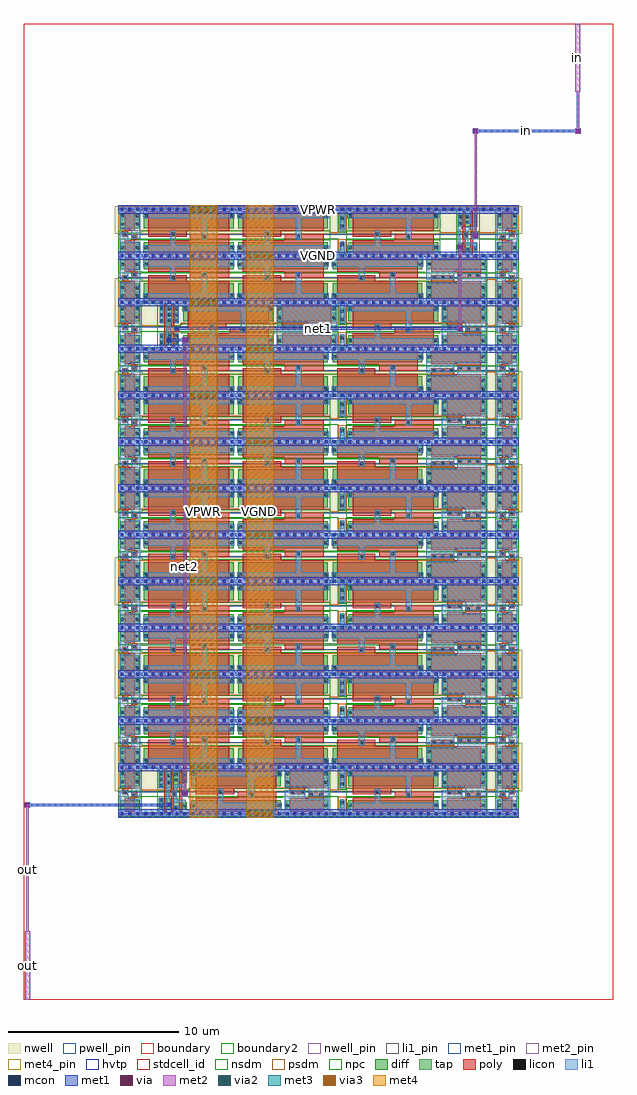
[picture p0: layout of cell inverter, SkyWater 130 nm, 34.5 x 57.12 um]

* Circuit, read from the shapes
.subckt inverter VGND VPWR in net1 net2 out
XM1 VGND VPWR VGND VGND sky130_fd_pr__nfet_01v8 w=0.55 l=0.59 m=26
XM2 VGND VPWR VGND VGND sky130_fd_pr__nfet_01v8 w=0.55 l=4.73 m=37
XM3 out n1 VGND VGND sky130_fd_pr__nfet_01v8 w=0.65 l=0.15 m=2
XM4 net2 net1 VGND VGND sky130_fd_pr__nfet_01v8 w=0.65 l=0.15 m=2
XM5 n1 net2 VGND VGND sky130_fd_pr__nfet_01v8 w=0.42 l=0.15
XM6 VGND VPWR VGND VGND sky130_fd_pr__nfet_01v8 w=0.55 l=2.89 m=7
XM7 VGND VPWR VGND VGND sky130_fd_pr__nfet_01v8 w=0.55 l=1.97 m=7
XM8 VGND n2 net1 VGND sky130_fd_pr__nfet_01v8 w=0.52 l=0.15
XM9 n2 in VGND VGND sky130_fd_pr__nfet_01v8 w=0.52 l=0.15
XM10 VPWR VGND VPWR VPWR sky130_fd_pr__pfet_01v8_hvt w=0.87 l=0.59 m=26
XM11 VPWR VGND VPWR VPWR sky130_fd_pr__pfet_01v8_hvt w=0.87 l=4.73 m=37
XM12 out n1 VPWR VPWR sky130_fd_pr__pfet_01v8_hvt w=1 l=0.15 m=2
XM13 net2 net1 VPWR VPWR sky130_fd_pr__pfet_01v8_hvt w=1 l=0.15 m=2
XM14 n1 net2 VPWR VPWR sky130_fd_pr__pfet_01v8_hvt w=0.64 l=0.15
XM15 VPWR VGND VPWR VPWR sky130_fd_pr__pfet_01v8_hvt w=0.87 l=2.89 m=7
XM16 VPWR VGND VPWR VPWR sky130_fd_pr__pfet_01v8_hvt w=0.87 l=1.97 m=7
XM17 VPWR n2 net1 VPWR sky130_fd_pr__pfet_01v8_hvt w=0.79 l=0.15
XM18 n2 in VPWR VPWR sky130_fd_pr__pfet_01v8_hvt w=0.79 l=0.15
.ends

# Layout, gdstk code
from math import pi, radians
import gdstk
lib = gdstk.Library(unit=1e-6, precision=1e-09)
def R(c, l, rs):  # rectangles x0, y0, x1, y1
    for r in rs: c.add(gdstk.rectangle(r[:2], r[2:], *l))
def A(c, l, x, y, w, h, nx, ny, dx, dy):  # array of equal rectangles
    R(c, l, [(x+i*dx, y+j*dy, x+i*dx+w, y+j*dy+h) for i in range(nx) for j in range(ny)])
def P(c, l, *ps):  # polygons
    for p in ps: c.add(gdstk.Polygon(p, *l))
nwell_pin = (64, 16)
nwell = (64, 20)
diff = (65, 20)
tap = (65, 44)
poly = (66, 20)
licon = (66, 44)
li1_pin = (67, 16)
li1 = (67, 20)
mcon = (67, 44)
met1_pin = (68, 16)
met1 = (68, 20)
via = (68, 44)
met2_pin = (69, 16)
met2 = (69, 20)
via2 = (69, 44)
met3 = (70, 20)
via3 = (70, 44)
met4_pin = (71, 16)
met4 = (71, 20)
hvtp = (78, 44)
stdcell_id = (81, 4)
nsdm = (93, 44)
psdm = (94, 20)
npc = (95, 20)
pwell_pin = (122, 16)
boundary = (235, 4)
boundary2 = (236, 0)

sky130_fd_sc_hd__fill_2 = lib.new_cell('sky130_fd_sc_hd__fill_2')
R(sky130_fd_sc_hd__fill_2, nwell_pin, [(0.14,2.675,0.31,2.765)])
R(sky130_fd_sc_hd__fill_2, nwell, [(-0.19,1.305,1.11,2.91)])
R(sky130_fd_sc_hd__fill_2, mcon, [(0.145,-0.085,0.315,0.085), (0.605,-0.085,0.775,0.085), (0.145,2.635,0.315,2.805), (0.605,2.635,0.775,2.805)])
R(sky130_fd_sc_hd__fill_2, met1_pin, [(0.1,-0.07,0.365,0.09), (0.105,2.65,0.365,2.805)])
R(sky130_fd_sc_hd__fill_2, hvtp, [(0,1.25,0.92,2.72)])
R(sky130_fd_sc_hd__fill_2, stdcell_id, [(0,0,0.92,2.72)])
R(sky130_fd_sc_hd__fill_2, nsdm, [(0,-0.19,0.92,1.015)])
R(sky130_fd_sc_hd__fill_2, psdm, [(0,1.355,0.92,2.91)])
R(sky130_fd_sc_hd__fill_2, pwell_pin, [(0.155,-0.05,0.315,0.06)])
sky130_fd_sc_hd__fill_2.add(gdstk.FlexPath([(0,0),(0.92,0)], 0.17, ends="flush", simple_path=True, layer=67, datatype=20))  # li1
sky130_fd_sc_hd__fill_2.add(gdstk.FlexPath([(0,2.72),(0.92,2.72)], 0.17, ends="flush", simple_path=True, layer=67, datatype=20))  # li1
sky130_fd_sc_hd__fill_2.add(gdstk.FlexPath([(0,2.72),(0.92,2.72)], 0.48, ends="flush", simple_path=True, layer=68, datatype=20))  # met1
sky130_fd_sc_hd__fill_2.add(gdstk.FlexPath([(0,0),(0.92,0)], 0.48, ends="flush", simple_path=True, layer=68, datatype=20))  # met1
sky130_fd_sc_hd__fill_2.add(gdstk.Label('VGND', (0.23,0), layer=68, texttype=5))
sky130_fd_sc_hd__fill_2.add(gdstk.Label('VPWR', (0.23,2.72), layer=68, texttype=5))
sky130_fd_sc_hd__fill_2.add(gdstk.Label('VPB', (0.23,2.72), layer=64, texttype=5))
sky130_fd_sc_hd__fill_2.add(gdstk.Label('VNB', (0.23,0), layer=64, texttype=59))
sky130_fd_sc_hd__fill_2.add(gdstk.Label('fill_2', (0,0), layer=83, texttype=44))

sky130_ef_sc_hd__decap_1 = lib.new_cell('sky130_ef_sc_hd__decap_12')
R(sky130_ef_sc_hd__decap_1, nwell_pin, [(0.145,2.635,0.315,2.805)])
R(sky130_ef_sc_hd__decap_1, nwell, [(-0.19,1.305,5.71,2.91)])
R(sky130_ef_sc_hd__decap_1, diff, [(0.135,0.235,5.385,0.785), (0.135,1.615,5.385,2.485)])
P(sky130_ef_sc_hd__decap_1, poly, [(5.125,2.615),(0.395,2.615),(0.395,1.125),(2.645,1.125),(2.645,1.485),(5.125,1.485)],
  [(5.125,1.275),(2.855,1.275),(2.855,0.915),(0.395,0.915),(0.395,0.105),(5.125,0.105)])
R(sky130_ef_sc_hd__decap_1, licon, [(0.175,0.39,0.345,0.56), (5.175,0.39,5.345,0.56), (3.575,1.025,3.745,1.195), (1.755,1.205,1.925,1.375), (0.175,2.255,0.345,2.425), (5.175,2.255,5.345,2.425)])
R(sky130_ef_sc_hd__decap_1, li1, [(0,-0.085,5.52,0.085), (0.085,0.085,5.43,0.63), (1.67,0.63,2.01,1.46), (3.49,0.95,3.84,2.2), (0.085,2.2,5.43,2.635), (0,2.635,5.52,2.805)])
A(sky130_ef_sc_hd__decap_1, mcon, 0.145, -0.085, 0.17, 0.17, 12, 2, 0.46, 2.72)
R(sky130_ef_sc_hd__decap_1, met1_pin, [(0.145,-0.085,0.315,0.085), (0.145,2.635,0.315,2.805)])
R(sky130_ef_sc_hd__decap_1, hvtp, [(0,1.25,5.52,2.72)])
R(sky130_ef_sc_hd__decap_1, stdcell_id, [(0,0,5.52,2.72)])
R(sky130_ef_sc_hd__decap_1, nsdm, [(0,-0.19,5.52,1.015)])
R(sky130_ef_sc_hd__decap_1, psdm, [(0,1.485,5.52,2.91)])
R(sky130_ef_sc_hd__decap_1, npc, [(0,0.925,5.52,1.475)])
R(sky130_ef_sc_hd__decap_1, pwell_pin, [(0.145,-0.085,0.315,0.085)])
R(sky130_ef_sc_hd__decap_1, boundary2, [(0,0,5.52,2.72)])
sky130_ef_sc_hd__decap_1.add(gdstk.FlexPath([(0,2.72),(5.52,2.72)], 0.48, ends="flush", simple_path=True, layer=68, datatype=20))  # met1
sky130_ef_sc_hd__decap_1.add(gdstk.FlexPath([(0,0),(5.52,0)], 0.48, ends="flush", simple_path=True, layer=68, datatype=20))  # met1
sky130_ef_sc_hd__decap_1.add(gdstk.Label('VGND', (0.23,0), layer=68, texttype=5))
sky130_ef_sc_hd__decap_1.add(gdstk.Label('VPWR', (0.23,2.72), layer=68, texttype=5))
sky130_ef_sc_hd__decap_1.add(gdstk.Label('VPB', (0.23,2.72), layer=64, texttype=5))
sky130_ef_sc_hd__decap_1.add(gdstk.Label('VNB', (0.23,0), layer=64, texttype=59))
sky130_ef_sc_hd__decap_1.add(gdstk.Label('decap_12', (0,0), layer=83, texttype=44))

sky130_fd_sc_hd__decap_3 = lib.new_cell('sky130_fd_sc_hd__decap_3')
R(sky130_fd_sc_hd__decap_3, nwell_pin, [(0.145,2.635,0.315,2.805)])
R(sky130_fd_sc_hd__decap_3, nwell, [(-0.19,1.305,1.57,2.91)])
R(sky130_fd_sc_hd__decap_3, diff, [(0.135,0.235,1.245,0.785), (0.135,1.615,1.245,2.485)])
P(sky130_fd_sc_hd__decap_3, poly, [(1.125,1.255),(0.795,1.255),(0.795,0.915),(0.395,0.915),(0.395,0.105),(0.985,0.105),(0.985,0.925),(1.125,0.925)],
  [(0.985,2.615),(0.395,2.615),(0.395,1.455),(0.255,1.455),(0.255,1.125),(0.585,1.125),(0.585,1.465),(0.985,1.465)])
R(sky130_fd_sc_hd__decap_3, licon, [(0.175,0.4,0.345,0.57), (1.035,0.4,1.205,0.57), (0.875,1.005,1.045,1.175), (0.335,1.205,0.505,1.375), (0.175,1.78,0.345,1.95), (1.035,1.78,1.205,1.95), (0.175,2.255,0.345,2.425), (1.035,2.255,1.205,2.425)])
P(sky130_fd_sc_hd__decap_3, li1, [(1.38,2.805),(0,2.805),(0,2.635),(0.085,2.635),(0.085,1.545),(0.775,1.545),(0.775,1.005),(1.295,1.005),(1.295,2.635),(1.38,2.635)],
  [(1.38,0.085),(1.295,0.085),(1.295,0.835),(0.605,0.835),(0.605,1.375),(0.085,1.375),(0.085,0.085),(0,0.085),(0,-0.085),(1.38,-0.085)])
A(sky130_fd_sc_hd__decap_3, mcon, 0.145, -0.085, 0.17, 0.17, 3, 2, 0.46, 2.72)
R(sky130_fd_sc_hd__decap_3, met1_pin, [(0.145,-0.085,0.315,0.085), (0.145,2.635,0.315,2.805)])
R(sky130_fd_sc_hd__decap_3, hvtp, [(0,1.25,1.38,2.72)])
R(sky130_fd_sc_hd__decap_3, stdcell_id, [(0,0,1.38,2.72)])
R(sky130_fd_sc_hd__decap_3, nsdm, [(0,-0.19,1.38,1.015)])
R(sky130_fd_sc_hd__decap_3, psdm, [(0,1.485,1.38,2.91)])
P(sky130_fd_sc_hd__decap_3, npc, [(1.38,1.345),(0.605,1.345),(0.605,1.475),(0,1.475),(0,0.975),(0.775,0.975),(0.775,0.905),(1.38,0.905)])
R(sky130_fd_sc_hd__decap_3, pwell_pin, [(0.145,-0.085,0.315,0.085)])
R(sky130_fd_sc_hd__decap_3, boundary2, [(0,0,1.38,2.72)])
sky130_fd_sc_hd__decap_3.add(gdstk.FlexPath([(0,2.72),(1.38,2.72)], 0.48, ends="flush", simple_path=True, layer=68, datatype=20))  # met1
sky130_fd_sc_hd__decap_3.add(gdstk.FlexPath([(0,0),(1.38,0)], 0.48, ends="flush", simple_path=True, layer=68, datatype=20))  # met1
sky130_fd_sc_hd__decap_3.add(gdstk.Label('VPWR', (0.23,2.72), layer=68, texttype=5))
sky130_fd_sc_hd__decap_3.add(gdstk.Label('VGND', (0.23,0), layer=68, texttype=5))
sky130_fd_sc_hd__decap_3.add(gdstk.Label('VPB', (0.23,2.72), layer=64, texttype=5))
sky130_fd_sc_hd__decap_3.add(gdstk.Label('VNB', (0.23,0), layer=64, texttype=59))
sky130_fd_sc_hd__decap_3.add(gdstk.Label('decap_3', (0,0), layer=83, texttype=44))

sky130_fd_sc_hd__buf_2 = lib.new_cell('sky130_fd_sc_hd__buf_2')
R(sky130_fd_sc_hd__buf_2, nwell_pin, [(0.145,2.635,0.315,2.805)])
R(sky130_fd_sc_hd__buf_2, nwell, [(-0.19,1.305,2.03,2.91)])
P(sky130_fd_sc_hd__buf_2, diff, [(1.705,2.485),(0.62,2.485),(0.62,2.445),(0.135,2.445),(0.135,1.805),(0.62,1.805),(0.62,1.485),(1.705,1.485)],
  [(1.705,0.885),(0.62,0.885),(0.62,0.655),(0.135,0.655),(0.135,0.235),(1.705,0.235)])
P(sky130_fd_sc_hd__buf_2, poly, [(1.44,2.615),(1.29,2.615),(1.29,1.325),(1.02,1.325),(1.02,2.615),(0.87,2.615),(0.87,1.325),(0.755,1.325),(0.755,0.995),(0.87,0.995),(0.87,0.105),(1.02,0.105),(1.02,0.995),(1.29,0.995),(1.29,0.105),(1.44,0.105)],
  [(0.545,2.575),(0.395,2.575),(0.395,1.325),(0.135,1.325),(0.135,0.995),(0.395,0.995),(0.395,0.105),(0.545,0.105)])
A(sky130_fd_sc_hd__buf_2, licon, 1.49, 1.575, 0.17, 0.17, 1, 3, 0, 0.34)
R(sky130_fd_sc_hd__buf_2, licon, [(0.64,0.295,0.81,0.465), (1.49,0.315,1.66,0.485), (0.175,0.36,0.345,0.53), (1.07,0.445,1.24,0.615), (1.49,0.655,1.66,0.825), (0.185,1.075,0.355,1.245), (0.805,1.075,0.975,1.245), (1.07,1.73,1.24,1.9), (0.175,1.875,0.345,2.045), (0.64,1.875,0.81,2.045), (1.07,2.135,1.24,2.305), (0.175,2.215,0.345,2.385), (0.64,2.215,0.81,2.385)])
R(sky130_fd_sc_hd__buf_2, li1_pin, [(0.145,-0.085,0.315,0.085), (1.06,0.425,1.23,0.595), (0.145,1.105,0.315,1.275), (1.06,1.785,1.23,1.955), (1.06,2.125,1.23,2.295), (0.145,2.635,0.315,2.805)])
R(sky130_fd_sc_hd__buf_2, li1, [(0.085,0.985,0.44,1.355)])
P(sky130_fd_sc_hd__buf_2, li1, [(0.975,1.325),(0.89,1.325),(0.89,1.705),(0.345,1.705),(0.345,2.465),(0.175,2.465),(0.175,1.535),(0.72,1.535),(0.72,0.805),(0.175,0.805),(0.175,0.255),(0.345,0.255),(0.345,0.635),(0.89,0.635),(0.89,0.995),(0.975,0.995)],
  [(1.315,2.465),(1.06,2.465),(1.06,1.56),(1.145,1.56),(1.145,0.83),(1.06,0.83),(1.06,0.255),(1.315,0.255)],
  [(1.84,2.805),(0,2.805),(0,2.635),(0.56,2.635),(0.56,1.875),(0.89,1.875),(0.89,2.635),(1.49,2.635),(1.49,1.485),(1.75,1.485),(1.75,2.635),(1.84,2.635)],
  [(1.84,0.085),(1.75,0.085),(1.75,0.925),(1.49,0.925),(1.49,0.085),(0.89,0.085),(0.89,0.465),(0.56,0.465),(0.56,0.085),(0,0.085),(0,-0.085),(1.84,-0.085)])
A(sky130_fd_sc_hd__buf_2, mcon, 0.145, -0.085, 0.17, 0.17, 4, 2, 0.46, 2.72)
R(sky130_fd_sc_hd__buf_2, met1_pin, [(0.145,-0.085,0.315,0.085), (0.145,2.635,0.315,2.805)])
R(sky130_fd_sc_hd__buf_2, hvtp, [(0,1.25,1.84,2.72)])
R(sky130_fd_sc_hd__buf_2, stdcell_id, [(0,0,1.84,2.72)])
R(sky130_fd_sc_hd__buf_2, nsdm, [(0,-0.19,1.84,1.015)])
R(sky130_fd_sc_hd__buf_2, psdm, [(0,1.355,1.84,2.91)])
R(sky130_fd_sc_hd__buf_2, npc, [(0,0.975,1.84,1.345)])
R(sky130_fd_sc_hd__buf_2, pwell_pin, [(0.145,-0.085,0.315,0.085)])
R(sky130_fd_sc_hd__buf_2, boundary2, [(0,0,1.84,2.72)])
sky130_fd_sc_hd__buf_2.add(gdstk.FlexPath([(0,0),(1.84,0)], 0.48, ends="flush", simple_path=True, layer=68, datatype=20))  # met1
sky130_fd_sc_hd__buf_2.add(gdstk.FlexPath([(0,2.72),(1.84,2.72)], 0.48, ends="flush", simple_path=True, layer=68, datatype=20))  # met1
sky130_fd_sc_hd__buf_2.add(gdstk.Label('VPWR', (0.23,2.72), layer=68, texttype=5))
sky130_fd_sc_hd__buf_2.add(gdstk.Label('VGND', (0.23,0), layer=68, texttype=5))
sky130_fd_sc_hd__buf_2.add(gdstk.Label('VPWR', (0.23,2.72), layer=67, texttype=5))
sky130_fd_sc_hd__buf_2.add(gdstk.Label('VGND', (0.23,0), layer=67, texttype=5))
sky130_fd_sc_hd__buf_2.add(gdstk.Label('X', (1.145,0.51), layer=67, texttype=5))
sky130_fd_sc_hd__buf_2.add(gdstk.Label('X', (1.145,1.87), layer=67, texttype=5))
sky130_fd_sc_hd__buf_2.add(gdstk.Label('X', (1.145,2.21), layer=67, texttype=5))
sky130_fd_sc_hd__buf_2.add(gdstk.Label('A', (0.23,1.19), layer=67, texttype=5))
sky130_fd_sc_hd__buf_2.add(gdstk.Label('VPB', (0.23,2.72), layer=64, texttype=5))
sky130_fd_sc_hd__buf_2.add(gdstk.Label('VNB', (0.23,0), layer=64, texttype=59))
sky130_fd_sc_hd__buf_2.add(gdstk.Label('buf_2', (0,0), layer=83, texttype=44))

sky130_fd_sc_hd__decap_6 = lib.new_cell('sky130_fd_sc_hd__decap_6')
R(sky130_fd_sc_hd__decap_6, nwell_pin, [(0.145,2.635,0.315,2.805)])
R(sky130_fd_sc_hd__decap_6, nwell, [(-0.19,1.305,2.95,2.91)])
R(sky130_fd_sc_hd__decap_6, diff, [(0.135,0.235,2.625,0.785), (0.135,1.615,2.625,2.485)])
P(sky130_fd_sc_hd__decap_6, poly, [(2.365,2.615),(0.395,2.615),(0.395,1.125),(1.275,1.125),(1.275,1.485),(2.365,1.485)],
  [(2.365,1.275),(1.485,1.275),(1.485,0.915),(0.395,0.915),(0.395,0.105),(2.365,0.105)])
R(sky130_fd_sc_hd__decap_6, licon, [(0.175,0.39,0.345,0.56), (2.415,0.39,2.585,0.56), (1.565,1.025,1.735,1.195), (2.115,1.025,2.285,1.195), (0.475,1.205,0.645,1.375), (1.025,1.205,1.195,1.375), (0.175,1.745,0.345,1.915), (2.415,1.745,2.585,1.915), (0.175,2.255,0.345,2.425), (2.415,2.255,2.585,2.425)])
P(sky130_fd_sc_hd__decap_6, li1, [(2.76,0.085),(2.675,0.085),(2.675,0.855),(1.295,0.855),(1.295,1.375),(0.085,1.375),(0.085,0.085),(0,0.085),(0,-0.085),(2.76,-0.085)],
  [(2.76,2.805),(0,2.805),(0,2.635),(0.085,2.635),(0.085,1.545),(1.465,1.545),(1.465,1.025),(2.675,1.025),(2.675,2.635),(2.76,2.635)])
A(sky130_fd_sc_hd__decap_6, mcon, 0.145, -0.085, 0.17, 0.17, 6, 2, 0.46, 2.72)
R(sky130_fd_sc_hd__decap_6, met1_pin, [(0.145,-0.085,0.315,0.085), (0.145,2.635,0.315,2.805)])
R(sky130_fd_sc_hd__decap_6, hvtp, [(0,1.25,2.76,2.72)])
R(sky130_fd_sc_hd__decap_6, stdcell_id, [(0,0,2.76,2.72)])
R(sky130_fd_sc_hd__decap_6, nsdm, [(0,-0.19,2.76,1.015)])
R(sky130_fd_sc_hd__decap_6, psdm, [(0,1.485,2.76,2.91)])
P(sky130_fd_sc_hd__decap_6, npc, [(2.76,1.345),(1.295,1.345),(1.295,1.475),(0,1.475),(0,0.975),(1.465,0.975),(1.465,0.925),(2.76,0.925)])
R(sky130_fd_sc_hd__decap_6, pwell_pin, [(0.145,-0.085,0.315,0.085)])
R(sky130_fd_sc_hd__decap_6, boundary2, [(0,0,2.76,2.72)])
sky130_fd_sc_hd__decap_6.add(gdstk.FlexPath([(0,2.72),(2.76,2.72)], 0.48, ends="flush", simple_path=True, layer=68, datatype=20))  # met1
sky130_fd_sc_hd__decap_6.add(gdstk.FlexPath([(0,0),(2.76,0)], 0.48, ends="flush", simple_path=True, layer=68, datatype=20))  # met1
sky130_fd_sc_hd__decap_6.add(gdstk.Label('VPWR', (0.23,2.72), layer=68, texttype=5))
sky130_fd_sc_hd__decap_6.add(gdstk.Label('VGND', (0.23,0), layer=68, texttype=5))
sky130_fd_sc_hd__decap_6.add(gdstk.Label('VPB', (0.23,2.72), layer=64, texttype=5))
sky130_fd_sc_hd__decap_6.add(gdstk.Label('VNB', (0.23,0), layer=64, texttype=59))
sky130_fd_sc_hd__decap_6.add(gdstk.Label('decap_6', (0,0), layer=83, texttype=44))

sky130_fd_sc_hd__fill_1 = lib.new_cell('sky130_fd_sc_hd__fill_1')
R(sky130_fd_sc_hd__fill_1, nwell_pin, [(0.155,2.67,0.255,2.755)])
R(sky130_fd_sc_hd__fill_1, nwell, [(-0.19,1.305,0.65,2.91)])
R(sky130_fd_sc_hd__fill_1, mcon, [(0.145,-0.085,0.315,0.085), (0.145,2.635,0.315,2.805)])
R(sky130_fd_sc_hd__fill_1, met1_pin, [(0.11,-0.065,0.29,0.08), (0.11,2.635,0.29,2.785)])
R(sky130_fd_sc_hd__fill_1, hvtp, [(0,1.25,0.46,2.72)])
R(sky130_fd_sc_hd__fill_1, stdcell_id, [(0,0,0.46,2.72)])
R(sky130_fd_sc_hd__fill_1, nsdm, [(0,-0.19,0.46,1.015)])
R(sky130_fd_sc_hd__fill_1, psdm, [(0,1.355,0.46,2.91)])
R(sky130_fd_sc_hd__fill_1, pwell_pin, [(0.14,-0.055,0.26,0.055)])
sky130_fd_sc_hd__fill_1.add(gdstk.FlexPath([(0,0),(0.46,0)], 0.17, ends="flush", simple_path=True, layer=67, datatype=20))  # li1
sky130_fd_sc_hd__fill_1.add(gdstk.FlexPath([(0,2.72),(0.46,2.72)], 0.17, ends="flush", simple_path=True, layer=67, datatype=20))  # li1
sky130_fd_sc_hd__fill_1.add(gdstk.FlexPath([(0,2.72),(0.46,2.72)], 0.48, ends="flush", simple_path=True, layer=68, datatype=20))  # met1
sky130_fd_sc_hd__fill_1.add(gdstk.FlexPath([(0,0),(0.46,0)], 0.48, ends="flush", simple_path=True, layer=68, datatype=20))  # met1
sky130_fd_sc_hd__fill_1.add(gdstk.Label('VPWR', (0.205,2.72), layer=68, texttype=5))
sky130_fd_sc_hd__fill_1.add(gdstk.Label('VGND', (0.205,0), layer=68, texttype=5))
sky130_fd_sc_hd__fill_1.add(gdstk.Label('VPB', (0.23,2.72), layer=64, texttype=5))
sky130_fd_sc_hd__fill_1.add(gdstk.Label('VNB', (0.23,0), layer=64, texttype=59))
sky130_fd_sc_hd__fill_1.add(gdstk.Label('fill_1', (0,0), layer=83, texttype=44))

sky130_fd_sc_hd__tapvpwr = lib.new_cell('sky130_fd_sc_hd__tapvpwrvgnd_1')
R(sky130_fd_sc_hd__tapvpwr, nwell, [(-0.19,1.305,0.65,2.91)])
R(sky130_fd_sc_hd__tapvpwr, tap, [(0.145,0.32,0.315,0.845), (0.145,1.525,0.315,2.4)])
R(sky130_fd_sc_hd__tapvpwr, licon, [(0.145,0.555,0.315,0.725), (0.145,1.645,0.315,1.815), (0.145,2.11,0.315,2.28)])
R(sky130_fd_sc_hd__tapvpwr, li1, [(0,-0.085,0.46,0.085), (0.085,0,0.375,0.81), (0.085,1.47,0.375,2.72), (0,2.635,0.46,2.805)])
R(sky130_fd_sc_hd__tapvpwr, mcon, [(0.145,-0.085,0.315,0.085), (0.145,2.635,0.315,2.805)])
R(sky130_fd_sc_hd__tapvpwr, met1_pin, [(0.105,-0.09,0.36,0.1), (0.11,2.62,0.375,2.765)])
R(sky130_fd_sc_hd__tapvpwr, met1, [(0,-0.24,0.46,0.24), (0,2.48,0.46,2.96)])
R(sky130_fd_sc_hd__tapvpwr, hvtp, [(0,1.25,0.46,2.72)])
R(sky130_fd_sc_hd__tapvpwr, stdcell_id, [(0,0,0.46,2.72)])
R(sky130_fd_sc_hd__tapvpwr, nsdm, [(0,-0.19,0.46,0.19), (0,1.395,0.46,2.53)])
R(sky130_fd_sc_hd__tapvpwr, psdm, [(0,0.19,0.46,0.975), (0,2.53,0.46,2.91)])
sky130_fd_sc_hd__tapvpwr.add(gdstk.Label('VPWR', (0.23,2.72), layer=68, texttype=5))
sky130_fd_sc_hd__tapvpwr.add(gdstk.Label('VGND', (0.23,0), layer=68, texttype=5))
sky130_fd_sc_hd__tapvpwr.add(gdstk.Label('tapvpwrvgnd_1', (0,0), layer=83, texttype=44))

sky130_fd_sc_hd__decap_8 = lib.new_cell('sky130_fd_sc_hd__decap_8')
R(sky130_fd_sc_hd__decap_8, nwell_pin, [(0.145,2.635,0.315,2.805)])
R(sky130_fd_sc_hd__decap_8, nwell, [(-0.19,1.305,3.87,2.91)])
R(sky130_fd_sc_hd__decap_8, diff, [(0.135,0.235,3.545,0.785), (0.135,1.615,3.545,2.485)])
P(sky130_fd_sc_hd__decap_8, poly, [(3.285,2.615),(0.395,2.615),(0.395,1.125),(1.715,1.125),(1.715,1.485),(3.285,1.485)],
  [(3.285,1.275),(1.925,1.275),(1.925,0.915),(0.395,0.915),(0.395,0.105),(3.285,0.105)])
A(sky130_fd_sc_hd__decap_8, licon, 2.005, 1.025, 0.17, 0.17, 3, 1, 0.515, 0)
A(sky130_fd_sc_hd__decap_8, licon, 0.475, 1.205, 0.17, 0.17, 3, 1, 0.495, 0)
R(sky130_fd_sc_hd__decap_8, licon, [(0.175,0.39,0.345,0.56), (3.335,0.39,3.505,0.56), (0.175,1.745,0.345,1.915), (3.335,1.745,3.505,1.915), (0.175,2.255,0.345,2.425), (3.335,2.255,3.505,2.425)])
P(sky130_fd_sc_hd__decap_8, li1, [(3.68,0.085),(3.595,0.085),(3.595,0.855),(1.735,0.855),(1.735,1.375),(0.085,1.375),(0.085,0.085),(0,0.085),(0,-0.085),(3.68,-0.085)],
  [(3.68,2.805),(0,2.805),(0,2.635),(0.085,2.635),(0.085,1.545),(1.905,1.545),(1.905,1.025),(3.595,1.025),(3.595,2.635),(3.68,2.635)])
A(sky130_fd_sc_hd__decap_8, mcon, 0.145, -0.085, 0.17, 0.17, 8, 2, 0.46, 2.72)
R(sky130_fd_sc_hd__decap_8, met1_pin, [(0.145,-0.085,0.315,0.085), (0.145,2.635,0.315,2.805)])
R(sky130_fd_sc_hd__decap_8, hvtp, [(0,1.25,3.68,2.72)])
R(sky130_fd_sc_hd__decap_8, stdcell_id, [(0,0,3.68,2.72)])
R(sky130_fd_sc_hd__decap_8, nsdm, [(0,-0.19,3.68,1.015)])
R(sky130_fd_sc_hd__decap_8, psdm, [(0,1.485,3.68,2.91)])
P(sky130_fd_sc_hd__decap_8, npc, [(3.68,1.345),(1.735,1.345),(1.735,1.475),(0,1.475),(0,0.975),(1.905,0.975),(1.905,0.925),(3.68,0.925)])
R(sky130_fd_sc_hd__decap_8, pwell_pin, [(0.145,-0.085,0.315,0.085)])
R(sky130_fd_sc_hd__decap_8, boundary2, [(0,0,3.68,2.72)])
sky130_fd_sc_hd__decap_8.add(gdstk.FlexPath([(0,2.72),(3.68,2.72)], 0.48, ends="flush", simple_path=True, layer=68, datatype=20))  # met1
sky130_fd_sc_hd__decap_8.add(gdstk.FlexPath([(0,0),(3.68,0)], 0.48, ends="flush", simple_path=True, layer=68, datatype=20))  # met1
sky130_fd_sc_hd__decap_8.add(gdstk.Label('VPWR', (0.23,2.72), layer=68, texttype=5))
sky130_fd_sc_hd__decap_8.add(gdstk.Label('VGND', (0.23,0), layer=68, texttype=5))
sky130_fd_sc_hd__decap_8.add(gdstk.Label('VPB', (0.23,2.72), layer=64, texttype=5))
sky130_fd_sc_hd__decap_8.add(gdstk.Label('VNB', (0.23,0), layer=64, texttype=59))
sky130_fd_sc_hd__decap_8.add(gdstk.Label('decap_8', (0,0), layer=83, texttype=44))

sky130_fd_sc_hd__inv_2 = lib.new_cell('sky130_fd_sc_hd__inv_2')
R(sky130_fd_sc_hd__inv_2, nwell_pin, [(0.145,2.635,0.315,2.805)])
R(sky130_fd_sc_hd__inv_2, nwell, [(-0.19,1.305,1.57,2.91)])
R(sky130_fd_sc_hd__inv_2, diff, [(0.145,0.235,1.235,0.885), (0.145,1.485,1.235,2.485)])
P(sky130_fd_sc_hd__inv_2, poly, [(0.975,2.615),(0.825,2.615),(0.825,1.325),(0.555,1.325),(0.555,2.615),(0.405,2.615),(0.405,1.325),(0.105,1.325),(0.105,0.995),(0.405,0.995),(0.405,0.105),(0.555,0.105),(0.555,0.995),(0.825,0.995),(0.825,0.105),(0.975,0.105)])
A(sky130_fd_sc_hd__inv_2, licon, 0.185, 0.295, 0.17, 0.17, 3, 2, 0.42, 0.36)
A(sky130_fd_sc_hd__inv_2, licon, 0.185, 1.575, 0.17, 0.17, 3, 3, 0.42, 0.34)
R(sky130_fd_sc_hd__inv_2, licon, [(0.185,1.075,0.355,1.245)])
A(sky130_fd_sc_hd__inv_2, li1_pin, 0.605, 0.765, 0.17, 0.17, 1, 3, 0, 0.34)
R(sky130_fd_sc_hd__inv_2, li1_pin, [(0.145,1.105,0.315,1.275)])
R(sky130_fd_sc_hd__inv_2, li1, [(0.105,1.075,0.435,1.325)])
P(sky130_fd_sc_hd__inv_2, li1, [(1.38,2.805),(0,2.805),(0,2.635),(0.125,2.635),(0.125,1.495),(0.355,1.495),(0.355,2.635),(1.025,2.635),(1.025,1.495),(1.235,1.495),(1.235,2.635),(1.38,2.635)],
  [(0.855,2.465),(0.525,2.465),(0.525,1.485),(0.605,1.485),(0.605,0.885),(0.525,0.885),(0.525,0.255),(0.855,0.255)],
  [(1.38,0.085),(1.235,0.085),(1.235,0.905),(1.025,0.905),(1.025,0.085),(0.355,0.085),(0.355,0.905),(0.125,0.905),(0.125,0.085),(0,0.085),(0,-0.085),(1.38,-0.085)])
A(sky130_fd_sc_hd__inv_2, mcon, 0.145, -0.085, 0.17, 0.17, 3, 2, 0.46, 2.72)
R(sky130_fd_sc_hd__inv_2, met1_pin, [(0.145,-0.085,0.315,0.085), (0.145,2.635,0.315,2.805)])
R(sky130_fd_sc_hd__inv_2, hvtp, [(0,1.25,1.38,2.72)])
R(sky130_fd_sc_hd__inv_2, stdcell_id, [(0,0,1.38,2.72)])
R(sky130_fd_sc_hd__inv_2, nsdm, [(0,-0.19,1.38,1.015)])
R(sky130_fd_sc_hd__inv_2, psdm, [(0,1.355,1.38,2.91)])
R(sky130_fd_sc_hd__inv_2, npc, [(0,0.975,1.38,1.345)])
R(sky130_fd_sc_hd__inv_2, pwell_pin, [(0.145,-0.085,0.315,0.085)])
R(sky130_fd_sc_hd__inv_2, boundary2, [(0,0,1.38,2.72)])
sky130_fd_sc_hd__inv_2.add(gdstk.FlexPath([(0,2.72),(1.38,2.72)], 0.48, ends="flush", simple_path=True, layer=68, datatype=20))  # met1
sky130_fd_sc_hd__inv_2.add(gdstk.FlexPath([(0,0),(1.38,0)], 0.48, ends="flush", simple_path=True, layer=68, datatype=20))  # met1
sky130_fd_sc_hd__inv_2.add(gdstk.Label('A', (0.23,1.19), layer=67, texttype=5))
sky130_fd_sc_hd__inv_2.add(gdstk.Label('Y', (0.69,0.85), layer=67, texttype=5))
sky130_fd_sc_hd__inv_2.add(gdstk.Label('Y', (0.69,1.53), layer=67, texttype=5))
sky130_fd_sc_hd__inv_2.add(gdstk.Label('Y', (0.69,1.19), layer=67, texttype=5))
sky130_fd_sc_hd__inv_2.add(gdstk.Label('VPB', (0.23,2.72), layer=64, texttype=5))
sky130_fd_sc_hd__inv_2.add(gdstk.Label('VNB', (0.23,0), layer=64, texttype=59))
sky130_fd_sc_hd__inv_2.add(gdstk.Label('VPWR', (0.23,2.72), layer=68, texttype=5))
sky130_fd_sc_hd__inv_2.add(gdstk.Label('VGND', (0.23,0), layer=68, texttype=5))
sky130_fd_sc_hd__inv_2.add(gdstk.Label('inv_2', (0,0), layer=83, texttype=44))

sky130_fd_sc_hd__clkbuf_ = lib.new_cell('sky130_fd_sc_hd__clkbuf_1')
R(sky130_fd_sc_hd__clkbuf_, nwell_pin, [(1.065,2.635,1.235,2.805)])
R(sky130_fd_sc_hd__clkbuf_, nwell, [(-0.19,1.305,1.57,2.91)])
R(sky130_fd_sc_hd__clkbuf_, diff, [(0.135,0.235,1.245,0.755), (0.135,1.695,1.245,2.485)])
P(sky130_fd_sc_hd__clkbuf_, poly, [(0.375,1.39),(0.395,1.39),(0.395,2.615),(0.545,2.615),(0.545,1.39),(0.645,1.39),(0.645,1.06),(0.545,1.06),(0.545,0.105),(0.395,0.105),(0.395,1.06),(0.375,1.06)],
  [(1.245,1.325),(1.015,1.325),(1.015,1.62),(0.985,1.62),(0.985,2.615),(0.835,2.615),(0.835,1.5),(0.865,1.5),(0.865,0.95),(0.835,0.95),(0.835,0.105),(0.985,0.105),(0.985,0.83),(1.015,0.83),(1.015,0.995),(1.245,0.995)])
A(sky130_fd_sc_hd__clkbuf_, licon, 0.175, 2.215, 0.17, 0.17, 3, 1, 0.43, 0)
R(sky130_fd_sc_hd__clkbuf_, licon, [(0.605,0.295,0.775,0.465), (1.035,0.36,1.205,0.53), (0.175,0.445,0.345,0.615), (1.025,1.075,1.195,1.245), (0.425,1.14,0.595,1.31), (0.175,1.81,0.345,1.98), (0.605,1.875,0.775,2.045), (1.035,1.875,1.205,2.045)])
R(sky130_fd_sc_hd__clkbuf_, li1_pin, [(0.145,0.425,0.315,0.595), (1.065,1.105,1.235,1.275), (0.145,1.785,0.315,1.955), (0.145,2.125,0.315,2.295)])
R(sky130_fd_sc_hd__clkbuf_, li1, [(0.945,0.985,1.275,1.355)])
P(sky130_fd_sc_hd__clkbuf_, li1, [(0.085,2.465),(0.355,2.465),(0.355,1.56),(0.255,1.56),(0.255,0.76),(0.345,0.76),(0.345,0.255),(0.085,0.255)],
  [(0,0.085),(0.525,0.085),(0.525,0.465),(0.855,0.465),(0.855,0.085),(1.38,0.085),(1.38,-0.085),(0,-0.085)],
  [(0.425,1.39),(0.54,1.39),(0.54,1.705),(1.035,1.705),(1.035,2.465),(1.205,2.465),(1.205,1.535),(0.71,1.535),(0.71,0.805),(1.205,0.805),(1.205,0.255),(1.035,0.255),(1.035,0.635),(0.54,0.635),(0.54,1.06),(0.425,1.06)],
  [(0,2.805),(1.38,2.805),(1.38,2.635),(0.855,2.635),(0.855,1.875),(0.525,1.875),(0.525,2.635),(0,2.635)])
A(sky130_fd_sc_hd__clkbuf_, mcon, 0.145, -0.085, 0.17, 0.17, 3, 2, 0.46, 2.72)
R(sky130_fd_sc_hd__clkbuf_, met1_pin, [(1.065,-0.085,1.235,0.085), (1.065,2.635,1.235,2.805)])
R(sky130_fd_sc_hd__clkbuf_, hvtp, [(0,1.25,1.38,2.72)])
R(sky130_fd_sc_hd__clkbuf_, stdcell_id, [(0,0,1.38,2.72)])
R(sky130_fd_sc_hd__clkbuf_, nsdm, [(0,-0.19,1.38,1.015)])
R(sky130_fd_sc_hd__clkbuf_, psdm, [(0,1.42,1.38,2.91)])
R(sky130_fd_sc_hd__clkbuf_, npc, [(0,0.975,1.38,1.41)])
R(sky130_fd_sc_hd__clkbuf_, pwell_pin, [(1.065,-0.085,1.235,0.085)])
R(sky130_fd_sc_hd__clkbuf_, boundary2, [(0,0,1.38,2.72)])
sky130_fd_sc_hd__clkbuf_.add(gdstk.FlexPath([(1.38,0),(0,0)], 0.48, ends="flush", simple_path=True, layer=68, datatype=20))  # met1
sky130_fd_sc_hd__clkbuf_.add(gdstk.FlexPath([(1.38,2.72),(0,2.72)], 0.48, ends="flush", simple_path=True, layer=68, datatype=20))  # met1
sky130_fd_sc_hd__clkbuf_.add(gdstk.Label('VGND', (1.15,0), layer=68, texttype=5))
sky130_fd_sc_hd__clkbuf_.add(gdstk.Label('VPWR', (1.15,2.72), layer=68, texttype=5))
sky130_fd_sc_hd__clkbuf_.add(gdstk.Label('X', (0.23,0.51), layer=67, texttype=5))
sky130_fd_sc_hd__clkbuf_.add(gdstk.Label('X', (0.23,1.87), layer=67, texttype=5))
sky130_fd_sc_hd__clkbuf_.add(gdstk.Label('X', (0.23,2.21), layer=67, texttype=5))
sky130_fd_sc_hd__clkbuf_.add(gdstk.Label('A', (1.15,1.19), layer=67, texttype=5))
sky130_fd_sc_hd__clkbuf_.add(gdstk.Label('VPB', (1.15,2.72), layer=64, texttype=5))
sky130_fd_sc_hd__clkbuf_.add(gdstk.Label('VNB', (1.15,0), layer=64, texttype=59))
sky130_fd_sc_hd__clkbuf_.add(gdstk.Label('clkbuf_1', (0,0), layer=83, texttype=44))

inverter = lib.new_cell('inverter')
R(inverter, li1, [(8.425,11.305,8.595,11.475), (9.345,11.985,9.515,12.155), (8.425,38.505,8.595,38.675), (8.885,39.185,9.055,39.355), (25.445,43.945,25.615,44.115), (26.365,44.625,26.535,44.795)])
R(inverter, mcon, [(8.425,11.305,8.595,11.475), (9.345,11.985,9.515,12.155), (8.425,38.505,8.595,38.675), (8.885,39.185,9.055,39.355), (25.445,43.945,25.615,44.115), (26.365,44.625,26.535,44.795)])
A(inverter, met1, 5.52, 10.64, 23.46, 0.48, 1, 14, 0, 2.72)
R(inverter, met1, [(0.07,11.26,0.39,11.32), (8.365,11.275,8.655,11.32), (0.07,11.32,8.655,11.46), (0.07,11.46,0.39,11.52), (8.365,11.46,8.655,11.505), (9.27,11.94,9.59,12.2), (9.27,38.46,9.59,38.52), (8.365,38.475,8.655,38.52), (8.365,38.52,9.59,38.66), (8.365,38.66,8.655,38.705), (9.27,38.66,9.59,38.72), (25.37,39.14,25.69,39.2), (8.825,39.155,9.115,39.2), (8.825,39.2,25.69,39.34), (8.825,39.34,9.115,39.385), (25.37,39.34,25.69,39.4), (25.37,43.9,25.69,44.16), (26.29,44.58,26.61,44.84), (26.29,50.7,26.61,50.76), (32.27,50.7,32.59,50.76), (26.29,50.76,32.59,50.9), (26.29,50.9,26.61,50.96), (32.27,50.9,32.59,50.96)])
A(inverter, via, 13.105, 10.805, 0.15, 0.15, 5, 7, 0.32, 5.44)
A(inverter, via, 9.805, 13.525, 0.15, 0.15, 5, 7, 0.32, 5.44)
R(inverter, via, [(0.155,11.315,0.305,11.465), (9.355,11.995,9.505,12.145), (9.355,38.515,9.505,38.665), (25.455,39.195,25.605,39.345), (25.455,43.955,25.605,44.105), (26.375,44.635,26.525,44.785), (26.375,50.755,26.525,50.905), (32.355,50.755,32.505,50.905)])
R(inverter, met2_pin, [(0.09,0,0.37,4), (32.29,53.12,32.57,57.12)])
A(inverter, met2, 13.05, 10.695, 1.54, 0.37, 1, 7, 0, 5.44)
A(inverter, met2, 9.75, 13.415, 1.54, 0.37, 1, 7, 0, 5.44)
R(inverter, met2, [(0.09,0,0.37,4), (0.16,4,0.3,11.23), (0.1,11.23,0.36,11.55), (9.3,11.91,9.56,12.23), (9.36,12.23,9.5,38.43), (9.3,38.43,9.56,38.75), (25.4,39.11,25.66,39.43), (25.46,39.43,25.6,43.87), (25.4,43.87,25.66,44.19), (26.32,44.55,26.58,44.87), (26.38,44.87,26.52,50.67), (26.32,50.67,26.58,50.99), (32.3,50.67,32.56,50.99), (32.36,50.99,32.5,53.12), (32.29,53.12,32.57,57.12)])
A(inverter, via2, 13.12, 10.78, 0.2, 0.2, 4, 7, 0.4, 5.44)
A(inverter, via2, 9.82, 13.5, 0.2, 0.2, 4, 7, 0.4, 5.44)
A(inverter, met3, 13.03, 10.715, 1.58, 0.33, 1, 7, 0, 5.44)
A(inverter, met3, 9.73, 13.435, 1.58, 0.33, 1, 7, 0, 5.44)
A(inverter, via3, 13.12, 10.78, 0.2, 0.2, 4, 7, 0.4, 5.44)
A(inverter, via3, 9.82, 13.5, 0.2, 0.2, 4, 7, 0.4, 5.44)
R(inverter, met4_pin, [(9.72,10.64,11.32,46.48), (13.02,10.64,14.62,46.48)])
R(inverter, met4, [(9.72,10.64,11.32,46.48), (13.02,10.64,14.62,46.48)])
R(inverter, boundary, [(0,0,34.5,57.12)])
inverter.add(gdstk.Reference(sky130_fd_sc_hd__fill_2, (6.9,10.88)))
inverter.add(gdstk.Reference(sky130_ef_sc_hd__decap_1, (9.66,10.88)))
inverter.add(gdstk.Reference(sky130_ef_sc_hd__decap_1, (6.9,16.32), x_reflection=True))
inverter.add(gdstk.Reference(sky130_fd_sc_hd__decap_3, (5.52,10.88)))
inverter.add(gdstk.Reference(sky130_fd_sc_hd__decap_3, (5.52,16.32), x_reflection=True))
inverter.add(gdstk.Reference(sky130_fd_sc_hd__buf_2, (9.66,10.88), rotation=pi, x_reflection=True))
inverter.add(gdstk.Reference(sky130_fd_sc_hd__decap_6, (15.18,10.88)))
inverter.add(gdstk.Reference(sky130_ef_sc_hd__decap_1, (12.42,16.32), x_reflection=True))
inverter.add(gdstk.Reference(sky130_fd_sc_hd__fill_1, (17.94,10.88)))
inverter.add(gdstk.Reference(sky130_ef_sc_hd__decap_1, (18.86,10.88)))
inverter.add(gdstk.Reference(sky130_ef_sc_hd__decap_1, (17.94,16.32), x_reflection=True))
inverter.add(gdstk.Reference(sky130_fd_sc_hd__tapvpwr, (18.4,10.88)))
inverter.add(gdstk.Reference(sky130_fd_sc_hd__decap_6, (24.38,10.88)))
inverter.add(gdstk.Reference(sky130_fd_sc_hd__fill_1, (27.14,10.88)))
inverter.add(gdstk.Reference(sky130_fd_sc_hd__decap_8, (23.46,16.32), x_reflection=True))
inverter.add(gdstk.Reference(sky130_fd_sc_hd__fill_1, (27.14,16.32), x_reflection=True))
inverter.add(gdstk.Reference(sky130_fd_sc_hd__decap_3, (28.98,10.88), rotation=pi, x_reflection=True))
inverter.add(gdstk.Reference(sky130_fd_sc_hd__decap_3, (28.98,16.32), rotation=pi))
inverter.add(gdstk.Reference(sky130_ef_sc_hd__decap_1, (6.9,16.32)))
inverter.add(gdstk.Reference(sky130_fd_sc_hd__decap_3, (5.52,16.32)))
inverter.add(gdstk.Reference(sky130_ef_sc_hd__decap_1, (12.42,16.32)))
inverter.add(gdstk.Reference(sky130_fd_sc_hd__fill_1, (17.94,16.32)))
inverter.add(gdstk.Reference(sky130_ef_sc_hd__decap_1, (18.86,16.32)))
inverter.add(gdstk.Reference(sky130_fd_sc_hd__tapvpwr, (18.4,16.32)))
inverter.add(gdstk.Reference(sky130_fd_sc_hd__decap_6, (24.38,16.32)))
inverter.add(gdstk.Reference(sky130_fd_sc_hd__fill_1, (27.14,16.32)))
inverter.add(gdstk.Reference(sky130_fd_sc_hd__decap_3, (28.98,16.32), rotation=pi, x_reflection=True))
inverter.add(gdstk.Reference(sky130_ef_sc_hd__decap_1, (6.9,21.76), x_reflection=True))
inverter.add(gdstk.Reference(sky130_fd_sc_hd__decap_3, (5.52,21.76), x_reflection=True))
inverter.add(gdstk.Reference(sky130_ef_sc_hd__decap_1, (12.42,21.76), x_reflection=True))
inverter.add(gdstk.Reference(sky130_ef_sc_hd__decap_1, (17.94,21.76), x_reflection=True))
inverter.add(gdstk.Reference(sky130_fd_sc_hd__decap_8, (23.46,21.76), x_reflection=True))
inverter.add(gdstk.Reference(sky130_fd_sc_hd__fill_1, (27.14,21.76), x_reflection=True))
inverter.add(gdstk.Reference(sky130_fd_sc_hd__decap_3, (28.98,21.76), rotation=pi))
inverter.add(gdstk.Reference(sky130_ef_sc_hd__decap_1, (6.9,21.76)))
inverter.add(gdstk.Reference(sky130_fd_sc_hd__decap_3, (5.52,21.76)))
inverter.add(gdstk.Reference(sky130_ef_sc_hd__decap_1, (12.42,21.76)))
inverter.add(gdstk.Reference(sky130_fd_sc_hd__fill_1, (17.94,21.76)))
inverter.add(gdstk.Reference(sky130_ef_sc_hd__decap_1, (18.86,21.76)))
inverter.add(gdstk.Reference(sky130_fd_sc_hd__tapvpwr, (18.4,21.76)))
inverter.add(gdstk.Reference(sky130_fd_sc_hd__decap_6, (24.38,21.76)))
inverter.add(gdstk.Reference(sky130_fd_sc_hd__fill_1, (27.14,21.76)))
inverter.add(gdstk.Reference(sky130_fd_sc_hd__decap_3, (28.98,21.76), rotation=pi, x_reflection=True))
inverter.add(gdstk.Reference(sky130_ef_sc_hd__decap_1, (6.9,27.2), x_reflection=True))
inverter.add(gdstk.Reference(sky130_fd_sc_hd__decap_3, (5.52,27.2), x_reflection=True))
inverter.add(gdstk.Reference(sky130_ef_sc_hd__decap_1, (12.42,27.2), x_reflection=True))
inverter.add(gdstk.Reference(sky130_ef_sc_hd__decap_1, (17.94,27.2), x_reflection=True))
inverter.add(gdstk.Reference(sky130_fd_sc_hd__decap_8, (23.46,27.2), x_reflection=True))
inverter.add(gdstk.Reference(sky130_fd_sc_hd__fill_1, (27.14,27.2), x_reflection=True))
inverter.add(gdstk.Reference(sky130_fd_sc_hd__decap_3, (28.98,27.2), rotation=pi))
inverter.add(gdstk.Reference(sky130_ef_sc_hd__decap_1, (6.9,27.2)))
inverter.add(gdstk.Reference(sky130_ef_sc_hd__decap_1, (6.9,32.64), x_reflection=True))
inverter.add(gdstk.Reference(sky130_fd_sc_hd__decap_3, (5.52,27.2)))
inverter.add(gdstk.Reference(sky130_fd_sc_hd__decap_3, (5.52,32.64), x_reflection=True))
inverter.add(gdstk.Reference(sky130_ef_sc_hd__decap_1, (12.42,27.2)))
inverter.add(gdstk.Reference(sky130_ef_sc_hd__decap_1, (12.42,32.64), x_reflection=True))
inverter.add(gdstk.Reference(sky130_fd_sc_hd__fill_1, (17.94,27.2)))
inverter.add(gdstk.Reference(sky130_ef_sc_hd__decap_1, (18.86,27.2)))
inverter.add(gdstk.Reference(sky130_ef_sc_hd__decap_1, (17.94,32.64), x_reflection=True))
inverter.add(gdstk.Reference(sky130_fd_sc_hd__tapvpwr, (18.4,27.2)))
inverter.add(gdstk.Reference(sky130_fd_sc_hd__decap_6, (24.38,27.2)))
inverter.add(gdstk.Reference(sky130_fd_sc_hd__fill_1, (27.14,27.2)))
inverter.add(gdstk.Reference(sky130_fd_sc_hd__decap_8, (23.46,32.64), x_reflection=True))
inverter.add(gdstk.Reference(sky130_fd_sc_hd__fill_1, (27.14,32.64), x_reflection=True))
inverter.add(gdstk.Reference(sky130_fd_sc_hd__decap_3, (28.98,27.2), rotation=pi, x_reflection=True))
inverter.add(gdstk.Reference(sky130_fd_sc_hd__decap_3, (28.98,32.64), rotation=pi))
inverter.add(gdstk.Reference(sky130_ef_sc_hd__decap_1, (6.9,32.64)))
inverter.add(gdstk.Reference(sky130_fd_sc_hd__decap_3, (5.52,32.64)))
inverter.add(gdstk.Reference(sky130_ef_sc_hd__decap_1, (12.42,32.64)))
inverter.add(gdstk.Reference(sky130_fd_sc_hd__fill_1, (17.94,32.64)))
inverter.add(gdstk.Reference(sky130_ef_sc_hd__decap_1, (18.86,32.64)))
inverter.add(gdstk.Reference(sky130_fd_sc_hd__tapvpwr, (18.4,32.64)))
inverter.add(gdstk.Reference(sky130_fd_sc_hd__decap_6, (24.38,32.64)))
inverter.add(gdstk.Reference(sky130_fd_sc_hd__fill_1, (27.14,32.64)))
inverter.add(gdstk.Reference(sky130_fd_sc_hd__decap_3, (28.98,32.64), rotation=pi, x_reflection=True))
inverter.add(gdstk.Reference(sky130_ef_sc_hd__decap_1, (6.9,38.08), x_reflection=True))
inverter.add(gdstk.Reference(sky130_fd_sc_hd__decap_3, (5.52,38.08), x_reflection=True))
inverter.add(gdstk.Reference(sky130_ef_sc_hd__decap_1, (12.42,38.08), x_reflection=True))
inverter.add(gdstk.Reference(sky130_ef_sc_hd__decap_1, (17.94,38.08), x_reflection=True))
inverter.add(gdstk.Reference(sky130_fd_sc_hd__decap_8, (23.46,38.08), x_reflection=True))
inverter.add(gdstk.Reference(sky130_fd_sc_hd__fill_1, (27.14,38.08), x_reflection=True))
inverter.add(gdstk.Reference(sky130_fd_sc_hd__decap_3, (28.98,38.08), rotation=pi))
inverter.add(gdstk.Reference(sky130_fd_sc_hd__fill_2, (6.9,38.08)))
inverter.add(gdstk.Reference(sky130_ef_sc_hd__decap_1, (9.2,38.08)))
inverter.add(gdstk.Reference(sky130_fd_sc_hd__decap_3, (5.52,38.08)))
inverter.add(gdstk.Reference(sky130_fd_sc_hd__inv_2, (9.2,38.08), rotation=pi, x_reflection=True))
inverter.add(gdstk.Reference(sky130_fd_sc_hd__decap_8, (14.72,38.08)))
inverter.add(gdstk.Reference(sky130_ef_sc_hd__decap_1, (18.86,38.08)))
inverter.add(gdstk.Reference(sky130_fd_sc_hd__tapvpwr, (18.4,38.08)))
inverter.add(gdstk.Reference(sky130_fd_sc_hd__decap_6, (24.38,38.08)))
inverter.add(gdstk.Reference(sky130_fd_sc_hd__fill_1, (27.14,38.08)))
inverter.add(gdstk.Reference(sky130_fd_sc_hd__decap_3, (28.98,38.08), rotation=pi, x_reflection=True))
inverter.add(gdstk.Reference(sky130_ef_sc_hd__decap_1, (6.9,43.52), x_reflection=True))
inverter.add(gdstk.Reference(sky130_fd_sc_hd__decap_3, (5.52,43.52), x_reflection=True))
inverter.add(gdstk.Reference(sky130_ef_sc_hd__decap_1, (12.42,43.52), x_reflection=True))
inverter.add(gdstk.Reference(sky130_ef_sc_hd__decap_1, (17.94,43.52), x_reflection=True))
inverter.add(gdstk.Reference(sky130_fd_sc_hd__decap_8, (23.46,43.52), x_reflection=True))
inverter.add(gdstk.Reference(sky130_fd_sc_hd__fill_1, (27.14,43.52), x_reflection=True))
inverter.add(gdstk.Reference(sky130_fd_sc_hd__decap_3, (28.98,43.52), rotation=pi))
inverter.add(gdstk.Reference(sky130_ef_sc_hd__decap_1, (6.9,43.52)))
inverter.add(gdstk.Reference(sky130_fd_sc_hd__decap_3, (5.52,43.52)))
inverter.add(gdstk.Reference(sky130_ef_sc_hd__decap_1, (12.42,43.52)))
inverter.add(gdstk.Reference(sky130_fd_sc_hd__fill_1, (17.94,43.52)))
inverter.add(gdstk.Reference(sky130_ef_sc_hd__decap_1, (18.86,43.52)))
inverter.add(gdstk.Reference(sky130_fd_sc_hd__tapvpwr, (18.4,43.52)))
inverter.add(gdstk.Reference(sky130_fd_sc_hd__fill_2, (24.38,43.52)))
inverter.add(gdstk.Reference(sky130_fd_sc_hd__fill_2, (26.68,43.52)))
inverter.add(gdstk.Reference(sky130_fd_sc_hd__decap_3, (28.98,43.52), rotation=pi, x_reflection=True))
inverter.add(gdstk.Reference(sky130_fd_sc_hd__clkbuf_, (25.3,43.52)))
inverter.add(gdstk.Label('VGND', (17.25,43.52), layer=68, texttype=5))
inverter.add(gdstk.Label('VPWR', (17.25,46.24), layer=68, texttype=5))
inverter.add(gdstk.Label('in', (29.44,50.83), layer=68, texttype=5))
inverter.add(gdstk.Label('net1', (17.25,39.27), layer=68, texttype=5))
inverter.add(gdstk.Label('net2', (9.43,25.33), layer=69, texttype=5))
inverter.add(gdstk.Label('out', (0.23,7.6), layer=69, texttype=5))
inverter.add(gdstk.Label('VGND', (13.82,28.56), layer=71, texttype=5))
inverter.add(gdstk.Label('VPWR', (10.52,28.56), layer=71, texttype=5))
inverter.add(gdstk.Label('in', (32.43,55.12), layer=69, texttype=5))
inverter.add(gdstk.Label('out', (0.23,2), layer=69, texttype=5))

lib.write_gds('inverter.gds')
